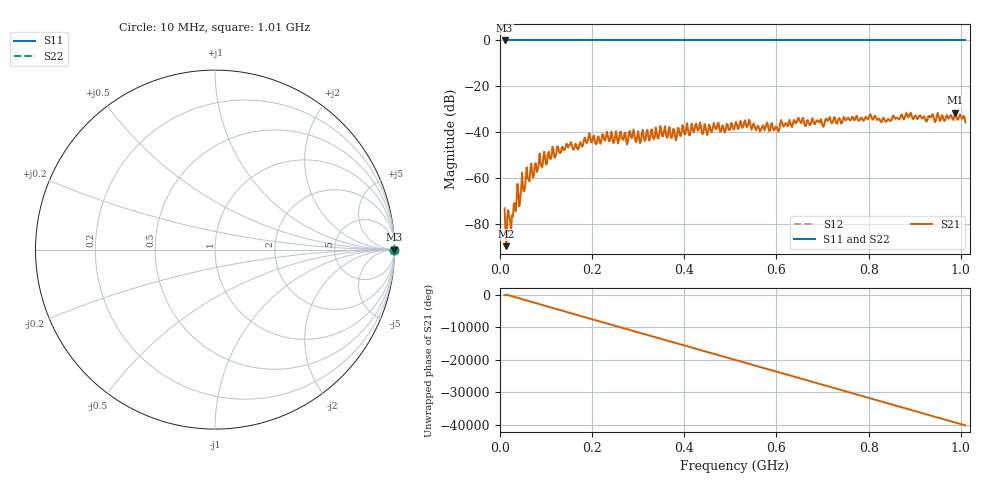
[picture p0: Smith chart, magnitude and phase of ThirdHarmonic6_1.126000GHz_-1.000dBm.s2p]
! 8/16/2025 10:53:56 AM
! C:\ANRITSUVNA\TEMP\TEMP.S2P
! CHANNEL.1
! TR.MEASUREMENT
! RAW.DATA
! RF.CORRECTION.OFF
! AVERAGING.OFF
! IF.BANDWIDTH: 5KHZ
! SWEEPTYPE:  FREQ.SWEEP(Linear)
! Reference Plane Port Info
! PORT:  PORT1  PORT2
! DISTANCE:  0  m  0  m
! TIME:  0  s  0  s
! PHASE.OFFSET:  0  deg.  0  deg.
! LOSS:  0  dB  0  dB
! REF.LOSS:  0  dB  0  dB
! REF.FREQ:  0  Hz  0  Hz
! Power Info
! POWER:  -20  dBm  -20  dBm
! EFF.POWER:  -20  dBm  -20  dBm
! SOURCE.ATTEN:  0  dB  0  dB
! TEST.ATTEN:  0  dB  0  dB
# GHZ S RI R 50.0
! FREQ.GHZ  S11RE  S11IM  S21RE  S21IM  S12RE  S12IM  S22RE  S22IM
!; PortSelection: Port_12
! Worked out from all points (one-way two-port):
!   501 points, 10 MHz to 1.01 GHz, reference 50 ohm
!   highest |S21| = -31.33 dB at 988 MHz (marker M1); lowest = -89.4 dB at 14 MHz (marker M2)
!   lowest |S11| = 0.0 dB at 10 MHz (marker M3)
!   |S11| at or under -10 dB: nowhere
!   |S22| runs from 0.0 to 0.0 dB; largest |S21 - S12| = 1
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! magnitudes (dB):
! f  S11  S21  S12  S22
! 10 MHz  0.0  -73.0  0.0  0.0
! 14 MHz  0.0  -89.4  0.0  0.0
! 24 MHz  0.0  -83.2  0.0  0.0
! 36 MHz  0.0  -69.9  0.0  0.0
! 62 MHz  0.0  -60.1  0.0  0.0
! 82 MHz  0.0  -56.3  0.0  0.0
! 148 MHz  0.0  -46.6  0.0  0.0
! 178 MHz  0.0  -46.2  0.0  0.0
! 194 MHz  0.0  -40.3  0.0  0.0
! 286 MHz  0.0  -42.5  0.0  0.0
! 300 MHz  0.0  -39.4  0.0  0.0
! 344 MHz  0.0  -42.5  0.0  0.0
! 510 MHz  0.0  -37.1  0.0  0.0
! 602 MHz  0.0  -38.4  0.0  0.0
! 648 MHz  0.0  -33.6  0.0  0.0
! 678 MHz  0.0  -33.8  0.0  0.0
! 804 MHz  0.0  -32.1  0.0  0.0
! 844 MHz  0.0  -34.2  0.0  0.0
! 886 MHz  0.0  -33.4  0.0  0.0
! 924 MHz  0.0  -34.9  0.0  0.0
! 988 MHz  0.0  -31.3  0.0  0.0
! 1.01 GHz  0.0  -35.6  0.0  0.0
